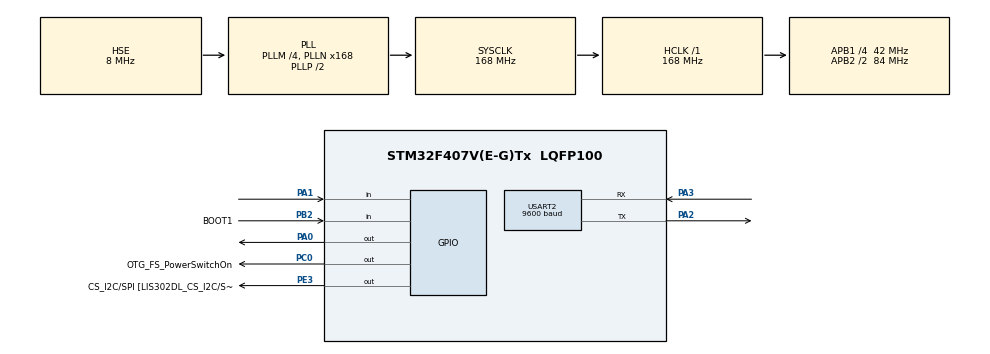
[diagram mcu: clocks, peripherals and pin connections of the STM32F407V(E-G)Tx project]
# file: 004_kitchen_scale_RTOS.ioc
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FREERTOS.Queues01=WeightDataQueue,16,float,0,Dynamic,NULL,NULL
FREERTOS.Tasks01=WeightReadTask,24,128,WeightReadTask01,Default,NULL,Dynamic,NULL,NULL;SendWeightDispl,8,128,SendWeightDisplay01,Default,NULL,Dynamic,NULL,NULL;RTC_Taks,8,128,RTC_Taks01,Default,NULL,Dynamic,NULL,NULL
Mcu.Family=STM32F4
Mcu.Name=STM32F407V(E-G)Tx
Mcu.Package=LQFP100
NVIC.PriorityGroup=NVIC_PRIORITYGROUP_4
NVIC.USART2_IRQn=true\:5\:0\:false\:false\:true\:true\:true\:true\:true
PA0-WKUP.Signal=GPIO_Output
PA1.Signal=GPIO_Input
PA13.GPIO_Label=SWDIO
PA13.Mode=Trace_Asynchronous_SW
PA13.Signal=SYS_JTMS-SWDIO
PA14.GPIO_Label=SWCLK
PA14.Mode=Trace_Asynchronous_SW
PA14.Signal=SYS_JTCK-SWCLK
PA2.Mode=Asynchronous
PA2.Signal=USART2_TX
PA3.Mode=Asynchronous
PA3.Signal=USART2_RX
PB2.GPIO_Label=BOOT1
PB2.GPIO_Mode=GPIO_MODE_INPUT
PB2.GPIO_PuPd=GPIO_NOPULL
PB2.Signal=GPIO_Input
PB3.GPIO_Label=SWO
PB3.Mode=Trace_Asynchronous_SW
PB3.Signal=SYS_JTDO-SWO
PC0.GPIO_Label=OTG_FS_PowerSwitchOn
PC0.GPIO_PuPd=GPIO_NOPULL
PC0.GPIO_Speed=GPIO_SPEED_FREQ_LOW
PC0.PinState=GPIO_PIN_SET
PC0.Signal=GPIO_Output
PC14-OSC32_IN.GPIO_Label=PC14-OSC32_IN
PC14-OSC32_IN.Mode=LSE-External-Oscillator
PC14-OSC32_IN.Signal=RCC_OSC32_IN
PC15-OSC32_OUT.GPIO_Label=PC15-OSC32_OUT
PC15-OSC32_OUT.Mode=LSE-External-Oscillator
PC15-OSC32_OUT.Signal=RCC_OSC32_OUT
PC3.GPIO_Label=PDM_OUT [MP45DT02_DOUT]
PC3.GPIO_Mode=GPIO_MODE_AF_PP
PC3.GPIO_PuPd=GPIO_NOPULL
PC3.GPIO_Speed=GPIO_SPEED_FREQ_LOW
PC3.Signal=I2S2_SD
PE3.GPIO_Label=CS_I2C/SPI [LIS302DL_CS_I2C/SPI]
PE3.GPIO_PuPd=GPIO_NOPULL
PE3.GPIO_Speed=GPIO_SPEED_FREQ_LOW
PE3.Signal=GPIO_Output
PH0-OSC_IN.GPIO_Label=PH0-OSC_IN
PH0-OSC_IN.Mode=HSE-External-Oscillator
PH0-OSC_IN.Signal=RCC_OSC_IN
PH1-OSC_OUT.GPIO_Label=PH1-OSC_OUT
PH1-OSC_OUT.Mode=HSE-External-Oscillator
PH1-OSC_OUT.Signal=RCC_OSC_OUT
ProjectManager.HeapSize=0x200
ProjectManager.StackSize=0x400
ProjectManager.TargetToolchain=STM32CubeIDE
RCC.48MHZClocksFreq_Value=48000000
RCC.AHBFreq_Value=168000000
RCC.APB1CLKDivider=RCC_HCLK_DIV4
RCC.APB1Freq_Value=42000000
RCC.APB1TimFreq_Value=84000000
RCC.APB2CLKDivider=RCC_HCLK_DIV2
RCC.APB2Freq_Value=84000000
RCC.APB2TimFreq_Value=168000000
RCC.CortexFreq_Value=168000000
RCC.HCLKFreq_Value=168000000
RCC.HSE_VALUE=8000000
RCC.HSI_VALUE=16000000
RCC.PLLM=4
RCC.PLLN=168
RCC.PLLQ=7
RCC.PLLSourceVirtual=RCC_PLLSOURCE_HSE
RCC.SYSCLKFreq_VALUE=168000000
RCC.SYSCLKSource=RCC_SYSCLKSOURCE_PLLCLK
RCC.VCOOutputFreq_Value=336000000
USART2.BaudRate=9600
USART2.VirtualMode=VM_ASYNC
VP_FREERTOS_VS_CMSIS_V2.Mode=CMSIS_V2
VP_RTC_VS_RTC_Activate.Mode=RTC_Enabled
board=STM32F407G-DISC1

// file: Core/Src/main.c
/* USER CODE BEGIN Header */
/**
  ******************************************************************************
  * @file           : main.c
  * @brief          : Main program body
  ******************************************************************************
  * @attention
  *
  * Copyright (c) 2025 STMicroelectronics.
  * All rights reserved.
  *
  * This software is licensed under terms that can be found in the LICENSE file
  * in the root directory of this software component.
  * If no LICENSE file comes with this software, it is provided AS-IS.
  *
  ******************************************************************************
  */
/* USER CODE END Header */
#include "main.h"
#include "cmsis_os.h"

/* USER CODE BEGIN Includes */
#include "stdio.h"
#include "math.h"
#include "stdlib.h"
#include <string.h>
//#include "hx711.h"
#include "display.h"

/* USER CODE END Includes */

RTC_HandleTypeDef hrtc;

UART_HandleTypeDef huart2;

/* Definitions for WeightReadTask */
osThreadId_t WeightReadTaskHandle;
const osThreadAttr_t WeightReadTask_attributes = {
  .name = "WeightReadTask",
  .stack_size = 128 * 4,
  .priority = (osPriority_t) osPriorityNormal,
};
/* Definitions for SendWeightDispl */
osThreadId_t SendWeightDisplHandle;
const osThreadAttr_t SendWeightDispl_attributes = {
  .name = "SendWeightDispl",
  .stack_size = 128 * 4,
  .priority = (osPriority_t) osPriorityLow,
};
/* Definitions for RTC_Taks */
osThreadId_t RTC_TaksHandle;
const osThreadAttr_t RTC_Taks_attributes = {
  .name = "RTC_Taks",
  .stack_size = 128 * 4,
  .priority = (osPriority_t) osPriorityLow,
};
/* Definitions for WeightDataQueue */
osMessageQueueId_t WeightDataQueueHandle;
const osMessageQueueAttr_t WeightDataQueue_attributes = {
  .name = "WeightDataQueue"
};

void SystemClock_Config(void);
static void MX_GPIO_Init(void);
static void MX_USART2_UART_Init(void);
static void MX_RTC_Init(void);
void WeightReadTask01(void *argument);
void SendWeightDisplay01(void *argument);
void RTC_Taks01(void *argument);

/* USER CODE BEGIN 0 */

// ---- RTC → Strings schicken ----
void Send_RTC_To_Nextion(void) {
    RTC_DateTypeDef gDate;
    RTC_TimeTypeDef gTime;
    char dateStr[20];
    char timeStr[20];

    HAL_RTC_GetTime(&hrtc, &gTime, RTC_FORMAT_BIN);
    HAL_RTC_GetDate(&hrtc, &gDate, RTC_FORMAT_BIN);

    // Datum formatieren
    snprintf(dateStr, sizeof(dateStr), "%02d.%02d.%04d",
              gDate.Date, gDate.Month, 2000 + gDate.Year);

    // Uhrzeit formatieren
    snprintf(timeStr, sizeof(timeStr), "%02d:%02d:%02d",
             gTime.Hours, gTime.Minutes, gTime.Seconds);

    // An Nextion senden
    NEXTION_SendString("t3", dateStr);
    NEXTION_SendString("t2", timeStr);
}

//-------------------------------------------------------------------------------

//-------------------------------------------------------------------------------

/* USER CODE END 0 */

int main(void)
{

  /* USER CODE BEGIN 1 */
	//RTC_Set_Time_Once();

  /* USER CODE END 1 */

  /* MCU Configuration--------------------------------------------------------*/

  /* Reset of all peripherals, Initializes the Flash interface and the Systick. */
  HAL_Init();

  /* Configure the system clock */
  SystemClock_Config();

  /* Initialize all configured peripherals */
  MX_GPIO_Init();
  MX_USART2_UART_Init();
  MX_RTC_Init();

  /* Init scheduler */
  osKernelInitialize();

  /* Create the queue(s) */
  /* creation of WeightDataQueue */
  WeightDataQueueHandle = osMessageQueueNew (16, sizeof(float), &WeightDataQueue_attributes);

  /* Create the thread(s) */
  /* creation of WeightReadTask */
  WeightReadTaskHandle = osThreadNew(WeightReadTask01, NULL, &WeightReadTask_attributes);

  /* creation of SendWeightDispl */
  SendWeightDisplHandle = osThreadNew(SendWeightDisplay01, NULL, &SendWeightDispl_attributes);

  /* creation of RTC_Taks */
  RTC_TaksHandle = osThreadNew(RTC_Taks01, NULL, &RTC_Taks_attributes);

  /* Start scheduler */
  osKernelStart();

  /* We should never get here as control is now taken by the scheduler */

  /* Infinite loop */
  while (1)
  {

  }
}

void SystemClock_Config(void)
{
  RCC_OscInitTypeDef RCC_OscInitStruct = {0};
  RCC_ClkInitTypeDef RCC_ClkInitStruct = {0};

  /** Configure the main internal regulator output voltage
  */
  __HAL_RCC_PWR_CLK_ENABLE();
  __HAL_PWR_VOLTAGESCALING_CONFIG(PWR_REGULATOR_VOLTAGE_SCALE1);

  /** Initializes the RCC Oscillators according to the specified parameters
  * in the RCC_OscInitTypeDef structure.
  */
  RCC_OscInitStruct.OscillatorType = RCC_OSCILLATORTYPE_LSI|RCC_OSCILLATORTYPE_HSE;
  RCC_OscInitStruct.HSEState = RCC_HSE_ON;
  RCC_OscInitStruct.LSIState = RCC_LSI_ON;
  RCC_OscInitStruct.PLL.PLLState = RCC_PLL_ON;
  RCC_OscInitStruct.PLL.PLLSource = RCC_PLLSOURCE_HSE;
  RCC_OscInitStruct.PLL.PLLM = 4;
  RCC_OscInitStruct.PLL.PLLN = 168;
  RCC_OscInitStruct.PLL.PLLP = RCC_PLLP_DIV2;
  RCC_OscInitStruct.PLL.PLLQ = 7;
  if (HAL_RCC_OscConfig(&RCC_OscInitStruct) != HAL_OK)
  {
    Error_Handler();
  }

  /** Initializes the CPU, AHB and APB buses clocks
  */
  RCC_ClkInitStruct.ClockType = RCC_CLOCKTYPE_HCLK|RCC_CLOCKTYPE_SYSCLK
                              |RCC_CLOCKTYPE_PCLK1|RCC_CLOCKTYPE_PCLK2;
  RCC_ClkInitStruct.SYSCLKSource = RCC_SYSCLKSOURCE_PLLCLK;
  RCC_ClkInitStruct.AHBCLKDivider = RCC_SYSCLK_DIV1;
  RCC_ClkInitStruct.APB1CLKDivider = RCC_HCLK_DIV4;
  RCC_ClkInitStruct.APB2CLKDivider = RCC_HCLK_DIV2;

  if (HAL_RCC_ClockConfig(&RCC_ClkInitStruct, FLASH_LATENCY_5) != HAL_OK)
  {
    Error_Handler();
  }
}

static void MX_RTC_Init(void)
{

  /** Initialize RTC Only
  */
  hrtc.Instance = RTC;
  hrtc.Init.HourFormat = RTC_HOURFORMAT_24;
  hrtc.Init.AsynchPrediv = 127;
  hrtc.Init.SynchPrediv = 255;
  hrtc.Init.OutPut = RTC_OUTPUT_DISABLE;
  hrtc.Init.OutPutPolarity = RTC_OUTPUT_POLARITY_HIGH;
  hrtc.Init.OutPutType = RTC_OUTPUT_TYPE_OPENDRAIN;
  if (HAL_RTC_Init(&hrtc) != HAL_OK)
  {
    Error_Handler();
  }

}

static void MX_USART2_UART_Init(void)
{

  huart2.Instance = USART2;
  huart2.Init.BaudRate = 9600;
  huart2.Init.WordLength = UART_WORDLENGTH_8B;
  huart2.Init.StopBits = UART_STOPBITS_1;
  huart2.Init.Parity = UART_PARITY_NONE;
  huart2.Init.Mode = UART_MODE_TX_RX;
  huart2.Init.HwFlowCtl = UART_HWCONTROL_NONE;
  huart2.Init.OverSampling = UART_OVERSAMPLING_16;
  if (HAL_UART_Init(&huart2) != HAL_OK)
  {
    Error_Handler();
  }

}

static void MX_GPIO_Init(void)
{
  GPIO_InitTypeDef GPIO_InitStruct = {0};

  /* GPIO Ports Clock Enable */
  __HAL_RCC_GPIOE_CLK_ENABLE();
  __HAL_RCC_GPIOC_CLK_ENABLE();
  __HAL_RCC_GPIOH_CLK_ENABLE();
  __HAL_RCC_GPIOA_CLK_ENABLE();
  __HAL_RCC_GPIOB_CLK_ENABLE();

  /*Configure GPIO pin Output Level */
  HAL_GPIO_WritePin(CS_I2C_SPI_GPIO_Port, CS_I2C_SPI_Pin, GPIO_PIN_RESET);

  /*Configure GPIO pin Output Level */
  HAL_GPIO_WritePin(OTG_FS_PowerSwitchOn_GPIO_Port, OTG_FS_PowerSwitchOn_Pin, GPIO_PIN_SET);

  /*Configure GPIO pin Output Level */
  HAL_GPIO_WritePin(GPIOA, GPIO_PIN_0, GPIO_PIN_RESET);

  /*Configure GPIO pin : CS_I2C_SPI_Pin */
  GPIO_InitStruct.Pin = CS_I2C_SPI_Pin;
  GPIO_InitStruct.Mode = GPIO_MODE_OUTPUT_PP;
  GPIO_InitStruct.Pull = GPIO_NOPULL;
  GPIO_InitStruct.Speed = GPIO_SPEED_FREQ_LOW;
  HAL_GPIO_Init(CS_I2C_SPI_GPIO_Port, &GPIO_InitStruct);

  /*Configure GPIO pin : OTG_FS_PowerSwitchOn_Pin */
  GPIO_InitStruct.Pin = OTG_FS_PowerSwitchOn_Pin;
  GPIO_InitStruct.Mode = GPIO_MODE_OUTPUT_PP;
  GPIO_InitStruct.Pull = GPIO_NOPULL;
  GPIO_InitStruct.Speed = GPIO_SPEED_FREQ_LOW;
  HAL_GPIO_Init(OTG_FS_PowerSwitchOn_GPIO_Port, &GPIO_InitStruct);

  /*Configure GPIO pin : PDM_OUT_Pin */
  GPIO_InitStruct.Pin = PDM_OUT_Pin;
  GPIO_InitStruct.Mode = GPIO_MODE_AF_PP;
  GPIO_InitStruct.Pull = GPIO_NOPULL;
  GPIO_InitStruct.Speed = GPIO_SPEED_FREQ_LOW;
  GPIO_InitStruct.Alternate = GPIO_AF5_SPI2;
  HAL_GPIO_Init(PDM_OUT_GPIO_Port, &GPIO_InitStruct);

  /*Configure GPIO pin : PA0 */
  GPIO_InitStruct.Pin = GPIO_PIN_0;
  GPIO_InitStruct.Mode = GPIO_MODE_OUTPUT_PP;
  GPIO_InitStruct.Pull = GPIO_NOPULL;
  GPIO_InitStruct.Speed = GPIO_SPEED_FREQ_LOW;
  HAL_GPIO_Init(GPIOA, &GPIO_InitStruct);

  /*Configure GPIO pin : PA1 */
  GPIO_InitStruct.Pin = GPIO_PIN_1;
  GPIO_InitStruct.Mode = GPIO_MODE_INPUT;
  GPIO_InitStruct.Pull = GPIO_NOPULL;
  HAL_GPIO_Init(GPIOA, &GPIO_InitStruct);

  /*Configure GPIO pin : BOOT1_Pin */
  GPIO_InitStruct.Pin = BOOT1_Pin;
  GPIO_InitStruct.Mode = GPIO_MODE_INPUT;
  GPIO_InitStruct.Pull = GPIO_NOPULL;
  HAL_GPIO_Init(BOOT1_GPIO_Port, &GPIO_InitStruct);

}

/* USER CODE BEGIN 4 */
int _write(int file, char *ptr, int len)
{
	 int DataIdx;
	 for (DataIdx = 0; DataIdx < len; DataIdx++)
	 {
		 ITM_SendChar(*ptr++);
	 }
	 return len;
}
/* USER CODE END 4 */

void WeightReadTask01(void *argument)
{
  /* USER CODE BEGIN 5 */
  /* Infinite loop */

	for (;;)
	{
		NEXTION_SendString("t1", "test t1");
		osDelay(1);
	}

  /* USER CODE END 5 */
}

void SendWeightDisplay01(void *argument)
{
  /* USER CODE BEGIN SendWeightDisplay01 */
	/* Infinite loop */

	    for (;;)
	    {
	    	//NEXTION_SendString("t0", "test t0");
	    	osDelay(1);
	    }

  /* USER CODE END SendWeightDisplay01 */
}

void RTC_Taks01(void *argument)
{
  /* USER CODE BEGIN RTC_Taks01 */
  /* Infinite loop */
	  RTC_TimeTypeDef sTime = {0};
	  RTC_DateTypeDef sDate = {0};

	  sTime.Hours = 22;
	  sTime.Minutes = 53;
	  sTime.Seconds = 0;
	  HAL_RTC_SetTime(&hrtc, &sTime, RTC_FORMAT_BIN);

	  sDate.WeekDay = RTC_WEEKDAY_FRIDAY;
	  sDate.Month = 9;
	  sDate.Date = 12;
	  sDate.Year = 25;   // Jahr = 2025
	  HAL_RTC_SetDate(&hrtc, &sDate, RTC_FORMAT_BIN);

	for(;;)
  {
	  Send_RTC_To_Nextion();
	  osDelay(1);
  }
  /* USER CODE END RTC_Taks01 */
}

void Error_Handler(void)
{
  __disable_irq();
  while (1)
  {
  }
}
